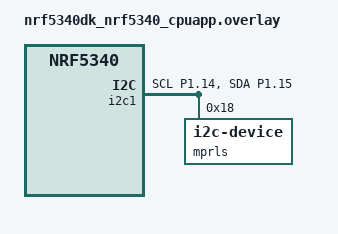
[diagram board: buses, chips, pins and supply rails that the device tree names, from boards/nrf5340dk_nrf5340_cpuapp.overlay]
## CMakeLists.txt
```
# SPDX-License-Identifier: Apache-2.0 

cmake_minimum_required(VERSION 3.20.0)
find_package(Zephyr REQUIRED HINTS $ENV{ZEPHYR_BASE})
project(blinky)

target_sources(app PRIVATE src/main.c)
 
```

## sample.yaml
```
sample:
  name: MPRLS Pressure Telemetry

tests:
  sample.mprls.pressure:
    tags:
      - sensor
      - i2c
    depends_on: i2c
    integration_platforms:
      - nrf5340dk_nrf5340_cpuapp
```

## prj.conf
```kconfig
CONFIG_GPIO=y
CONFIG_I2C=y
CONFIG_PRINTK=y


CONFIG_BT=y
CONFIG_BT_PERIPHERAL=y
CONFIG_BT_DEVICE_NAME="PressureNode"
CONFIG_BT_GATT_DYNAMIC_DB=y
CONFIG_BT_MAX_CONN=1
```

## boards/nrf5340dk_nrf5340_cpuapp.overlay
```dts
&i2c1 {
    status = "okay";
    pinctrl-0 = <&i2c1_default>;
    pinctrl-1 = <&i2c1_sleep>;
    pinctrl-names = "default", "sleep";
    mprls: mprls@18 {
        compatible = "i2c-device";
        status = "okay";
        reg = <0x18>;
    };
};

&pinctrl {
	/omit-if-no-ref/ i2c1_default: i2c1_default {
		group1  {
			psels = <NRF_PSEL(TWIM_SCL, 1, 14)>,
					<NRF_PSEL(TWIM_SDA, 1, 15)>;
		};
	};

	/omit-if-no-ref/ i2c1_sleep: i2c1_sleep {
		group1  {
			psels = <NRF_PSEL(TWIM_SCL, 1, 14)>,
					<NRF_PSEL(TWIM_SDA, 1, 15)>;
			low-power-enable;
		};
	};
};
```

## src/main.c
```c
#include <zephyr/kernel.h>
#include <zephyr/device.h>
#include <zephyr/devicetree.h>
#include <zephyr/drivers/i2c.h>
#include <zephyr/sys/printk.h>
#include <zephyr/bluetooth/bluetooth.h>
#include <zephyr/bluetooth/gatt.h>

static uint32_t ble_pressure = 0;

static ssize_t read_pressure(struct bt_conn *conn, const struct bt_gatt_attr *attr, void *buf, uint16_t len, uint16_t offset) {
    return bt_gatt_attr_read(conn, attr, buf, len, offset,&ble_pressure, sizeof(ble_pressure));
}

BT_GATT_SERVICE_DEFINE(pressure_svc, BT_GATT_PRIMARY_SERVICE(BT_UUID_DECLARE_16(0x180F)), BT_GATT_CHARACTERISTIC(BT_UUID_DECLARE_16(0x2A19),
                       BT_GATT_CHRC_READ | BT_GATT_CHRC_NOTIFY, BT_GATT_PERM_READ, read_pressure, NULL, NULL), BT_GATT_CCC(NULL, BT_GATT_PERM_READ | BT_GATT_PERM_WRITE));

static const struct i2c_dt_spec mprls = I2C_DT_SPEC_GET(DT_NODELABEL(mprls));

int main(void){

    //BLE
    printk("BOOT\n");
    int err = bt_enable(NULL);
    if (err) {
        printk("BLE init failed (%d)\n", err);
        return 0;
    }

    struct bt_data ad[] = {BT_DATA_BYTES(BT_DATA_FLAGS, BT_LE_AD_GENERAL | BT_LE_AD_NO_BREDR), BT_DATA(BT_DATA_NAME_COMPLETE,
                           CONFIG_BT_DEVICE_NAME, sizeof(CONFIG_BT_DEVICE_NAME) - 1),};

    err = bt_le_adv_start(BT_LE_ADV_CONN, ad, ARRAY_SIZE(ad), NULL, 0);
    if (err) {
        printk("Advertising failed (%d)\n", err);
        return 0;
    }
    printk("Advertising started\n");


    if (!device_is_ready(mprls.bus)) {
        printk("I2C bus %s is not ready!\n",mprls.bus->name);
        return;
    }

    //I2C & Adv
    printk("I2C ready, addr=0x%x\n", mprls.addr);

    while (1) {
        /*tell sensor to measure*/
        uint8_t config[3] = {0xAA, 0x00, 0x00};
        int ret = i2c_write_dt(&mprls, config, sizeof(config));
        if(ret < 0){
            printk("Failed to write to I2C device address %x.\n", mprls.addr);
        } 

        /*wait for measurement to be ready*/
        k_msleep(5);
        
        /*read measurement*/
        uint8_t data[4];    //status byte, pressure[23:16], pressure[15:8], pressure[7:0]
        ret = i2c_read_dt(&mprls, data, sizeof(data));
        if(ret != 0){
            printk("Failed to read from I2C device address %x. \n", mprls.addr);
        } 

        /*process and print measurement*/
        uint32_t raw = 0;
        float pressure_psi = 0.0f; 


        if(!(data[0] & 0b00100000)){
            raw = (data[1] << 16) + (data[2] << 8) + data[3];
            pressure_psi = ((float)raw - 1677722.0f) * 25.0f / (15099494.0f - 1677722.0f);
        }

        /*
        int whole = (int)pressure_psi;
        int frac  = (int)((pressure_psi - whole) * 100.0f);

        printk("%d.%02d\n", whole,frac); 
        */

        ble_pressure = (uint32_t)(pressure_psi * 1000.0f); // mPSI
        bt_gatt_notify(NULL, &pressure_svc.attrs[1],&ble_pressure, sizeof(ble_pressure));

        /*wait so the rate is correct (10 Hz)*/
        k_msleep(95);
    }
}
```
